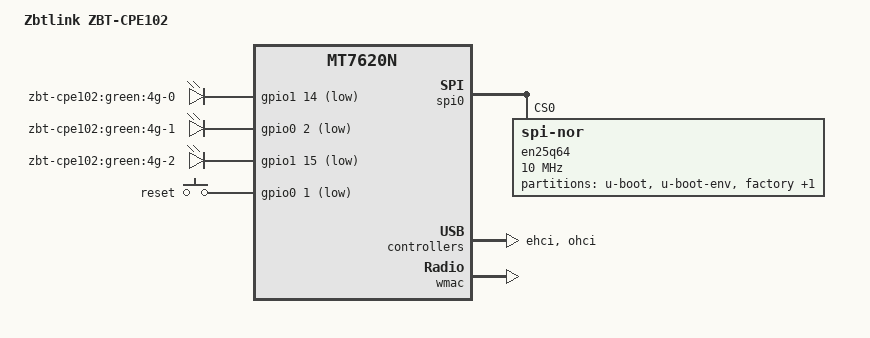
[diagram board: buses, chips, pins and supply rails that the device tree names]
/dts-v1/;

#include "mt7620n.dtsi"

#include <dt-bindings/gpio/gpio.h>
#include <dt-bindings/input/input.h>

/ {
	compatible = "zbtlink,zbt-cpe102", "ralink,mt7620n-soc";
	model = "Zbtlink ZBT-CPE102";

	chosen {
		bootargs = "console=ttyS0,115200";
	};


	aliases {
		led-boot = &led_4g_0;
		led-failsafe = &led_4g_0;
	};

	gpio-leds {
		compatible = "gpio-leds";

		led_4g_0: 4g-0 {
			label = "zbt-cpe102:green:4g-0";
			gpios = <&gpio1 14 GPIO_ACTIVE_LOW>;
		};

		4g-1 {
			label = "zbt-cpe102:green:4g-1";
			gpios = <&gpio0 2 GPIO_ACTIVE_LOW>;
		};

		4g-2 {
			label = "zbt-cpe102:green:4g-2";
			gpios = <&gpio1 15 GPIO_ACTIVE_LOW>;
		};
	};

	gpio-keys-polled {
		compatible = "gpio-keys-polled";
		poll-interval = <20>;

		reset {
			label = "reset";
			gpios = <&gpio0 1 GPIO_ACTIVE_LOW>;
			linux,code = <KEY_RESTART>;
		};
	};
};

&gpio1 {
	status = "okay";
};

&gpio2 {
	status = "okay";
};

&gpio3 {
	status = "okay";
};

&spi0 {
	status = "okay";

	en25q64@0 {
		compatible = "jedec,spi-nor";
		reg = <0>;
		spi-max-frequency = <10000000>;

		partitions {
			compatible = "fixed-partitions";
			#address-cells = <1>;
			#size-cells = <1>;

			partition@0 {
				label = "u-boot";
				reg = <0x0 0x30000>;
				read-only;
			};

			partition@30000 {
				label = "u-boot-env";
				reg = <0x30000 0x10000>;
				read-only;
			};

			factory: partition@40000 {
				label = "factory";
				reg = <0x40000 0x10000>;
				read-only;
			};

			partition@50000 {
				label = "firmware";
				reg = <0x50000 0x760000>;
			};
		};
	};
};

&ehci {
	status = "okay";
};

&ohci {
	status = "okay";
};

&ethernet {
	mtd-mac-address = <&factory 0x4>;
	mediatek,portmap = "wllll";
};

&wmac {
	ralink,mtd-eeprom = <&factory 0>;
};

&pinctrl {
	state_default: pinctrl0 {
		default {
			ralink,group = "i2c", "spi refclk", "wled";
			ralink,function = "gpio";
		};
	};
};
